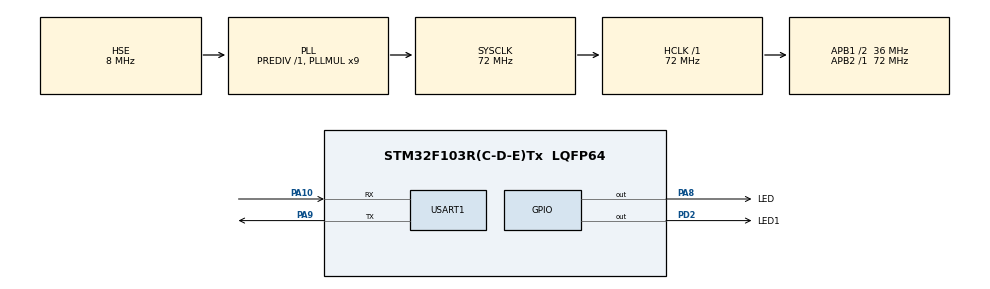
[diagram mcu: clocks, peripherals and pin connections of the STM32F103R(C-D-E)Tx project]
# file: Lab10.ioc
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FREERTOS.BinarySemaphores01=bSem01,Dynamic,NULL;bSemEmpty,Dynamic,NULL;bSemFilled,Dynamic,NULL
FREERTOS.CountingSemaphores01=bSemBuffer,4,Dynamic,NULL
FREERTOS.Queues01=myQueue01,4,uint16_t,0,Dynamic,NULL,NULL
FREERTOS.Tasks01=Producer,0,128,FuncProducer,Default,NULL,Dynamic,NULL,NULL;Consumer,0,128,FuncConsumer,Default,NULL,Dynamic,NULL,NULL
FREERTOS.configTOTAL_HEAP_SIZE=20000
FREERTOS.configUSE_COUNTING_SEMAPHORES=1
Mcu.Family=STM32F1
Mcu.Name=STM32F103R(C-D-E)Tx
Mcu.Package=LQFP64
NVIC.PriorityGroup=NVIC_PRIORITYGROUP_4
NVIC.USART1_IRQn=true\:1\:0\:true\:false\:true\:true\:true\:true
PA10.Mode=Asynchronous
PA10.Signal=USART1_RX
PA13.Mode=Serial_Wire
PA13.Signal=SYS_JTMS-SWDIO
PA14.Mode=Serial_Wire
PA14.Signal=SYS_JTCK-SWCLK
PA8.GPIO_Label=LED
PA8.Signal=GPIO_Output
PA9.Mode=Asynchronous
PA9.Signal=USART1_TX
PD0-OSC_IN.Mode=HSE-External-Oscillator
PD0-OSC_IN.Signal=RCC_OSC_IN
PD1-OSC_OUT.Mode=HSE-External-Oscillator
PD1-OSC_OUT.Signal=RCC_OSC_OUT
PD2.GPIO_Label=LED1
PD2.Signal=GPIO_Output
ProjectManager.HeapSize=0x200
ProjectManager.StackSize=0x400
ProjectManager.TargetToolchain=STM32CubeIDE
RCC.AHBFreq_Value=72000000
RCC.APB1CLKDivider=RCC_HCLK_DIV2
RCC.APB1Freq_Value=36000000
RCC.APB1TimFreq_Value=72000000
RCC.APB2Freq_Value=72000000
RCC.APB2TimFreq_Value=72000000
RCC.HCLKFreq_Value=72000000
RCC.PLLMUL=RCC_PLL_MUL9
RCC.PLLSourceVirtual=RCC_PLLSOURCE_HSE
RCC.SYSCLKFreq_VALUE=72000000
RCC.SYSCLKSource=RCC_SYSCLKSOURCE_PLLCLK
RCC.USBFreq_Value=72000000
USART1.VirtualMode=VM_ASYNC
VP_FREERTOS_VS_CMSIS_V1.Mode=CMSIS_V1
board=custom

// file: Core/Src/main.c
/* USER CODE BEGIN Header */
/**
 ******************************************************************************
 * @file           : main.c
 * @brief          : Main program body
 ******************************************************************************
 * @attention
 *
 * <h2><center>&copy; Copyright (c) 2021 STMicroelectronics.
 * All rights reserved.</center></h2>
 *
 * This software component is licensed by ST under BSD 3-Clause license,
 * the "License"; You may not use this file except in compliance with the
 * License. You may obtain a copy of the License at:
 *                        opensource.org/licenses/BSD-3-Clause
 *
 ******************************************************************************
 */
/* USER CODE END Header */
#include "main.h"
#include "cmsis_os.h"

UART_HandleTypeDef huart1;

osThreadId ProducerHandle;
osThreadId ConsumerHandle;
osMessageQId myQueue01Handle;
osSemaphoreId bSem01Handle;
osSemaphoreId bSemEmptyHandle;
osSemaphoreId bSemFilledHandle;
osSemaphoreId bSemBufferHandle;
/* USER CODE BEGIN PV */
typedef struct {
	uint16_t var;
} mailStruct;
osMailQId mail01Handle;
/* USER CODE END PV */

void SystemClock_Config(void);
static void MX_GPIO_Init(void);
static void MX_USART1_UART_Init(void);
void FuncProducer(void const *argument);
void FuncConsumer(void const *argument);

int main(void) {

	/* MCU Configuration--------------------------------------------------------*/

	/* Reset of all peripherals, Initializes the Flash interface and the Systick. */
	HAL_Init();

	/* Configure the system clock */
	SystemClock_Config();

	/* Initialize all configured peripherals */
	MX_GPIO_Init();
	MX_USART1_UART_Init();

	/* Create the semaphores(s) */
	/* definition and creation of bSem01 */
	osSemaphoreDef(bSem01);
	bSem01Handle = osSemaphoreCreate(osSemaphore(bSem01), 1);

	/* definition and creation of bSemEmpty */
	osSemaphoreDef(bSemEmpty);
	bSemEmptyHandle = osSemaphoreCreate(osSemaphore(bSemEmpty), 1);

	/* definition and creation of bSemFilled */
	osSemaphoreDef(bSemFilled);
	bSemFilledHandle = osSemaphoreCreate(osSemaphore(bSemFilled), 1);

	/* definition and creation of bSemBuffer */
	osSemaphoreDef(bSemBuffer);
	bSemBufferHandle = osSemaphoreCreate(osSemaphore(bSemBuffer), 4);

	/* Create the queue(s) */
	/* definition and creation of myQueue01 */
	osMessageQDef(myQueue01, 4, uint16_t);
	myQueue01Handle = osMessageCreate(osMessageQ(myQueue01), NULL);

	/* USER CODE BEGIN RTOS_QUEUES */
	/* add queues, ... */
	osMailQDef(mail01, 4, mailStruct);
	mail01Handle = osMailCreate(osMailQ(mail01), NULL);
	/* USER CODE END RTOS_QUEUES */

	/* Create the thread(s) */
	/* definition and creation of Producer */
	osThreadDef(Producer, FuncProducer, osPriorityNormal, 0, 128);
	ProducerHandle = osThreadCreate(osThread(Producer), NULL);

	/* definition and creation of Consumer */
	osThreadDef(Consumer, FuncConsumer, osPriorityNormal, 0, 128);
	ConsumerHandle = osThreadCreate(osThread(Consumer), NULL);

	/* Start scheduler */
	osKernelStart();

	/* We should never get here as control is now taken by the scheduler */
	/* Infinite loop */
	while (1) {

	}
}

void SystemClock_Config(void) {
	RCC_OscInitTypeDef RCC_OscInitStruct = { 0 };
	RCC_ClkInitTypeDef RCC_ClkInitStruct = { 0 };

	/** Initializes the RCC Oscillators according to the specified parameters
	 * in the RCC_OscInitTypeDef structure.
	 */
	RCC_OscInitStruct.OscillatorType = RCC_OSCILLATORTYPE_HSE;
	RCC_OscInitStruct.HSEState = RCC_HSE_ON;
	RCC_OscInitStruct.HSEPredivValue = RCC_HSE_PREDIV_DIV1;
	RCC_OscInitStruct.HSIState = RCC_HSI_ON;
	RCC_OscInitStruct.PLL.PLLState = RCC_PLL_ON;
	RCC_OscInitStruct.PLL.PLLSource = RCC_PLLSOURCE_HSE;
	RCC_OscInitStruct.PLL.PLLMUL = RCC_PLL_MUL9;
	if (HAL_RCC_OscConfig(&RCC_OscInitStruct) != HAL_OK) {
		Error_Handler();
	}
	/** Initializes the CPU, AHB and APB buses clocks
	 */
	RCC_ClkInitStruct.ClockType = RCC_CLOCKTYPE_HCLK | RCC_CLOCKTYPE_SYSCLK
			| RCC_CLOCKTYPE_PCLK1 | RCC_CLOCKTYPE_PCLK2;
	RCC_ClkInitStruct.SYSCLKSource = RCC_SYSCLKSOURCE_PLLCLK;
	RCC_ClkInitStruct.AHBCLKDivider = RCC_SYSCLK_DIV1;
	RCC_ClkInitStruct.APB1CLKDivider = RCC_HCLK_DIV2;
	RCC_ClkInitStruct.APB2CLKDivider = RCC_HCLK_DIV1;

	if (HAL_RCC_ClockConfig(&RCC_ClkInitStruct, FLASH_LATENCY_2) != HAL_OK) {
		Error_Handler();
	}
}

static void MX_USART1_UART_Init(void) {

	huart1.Instance = USART1;
	huart1.Init.BaudRate = 115200;
	huart1.Init.WordLength = UART_WORDLENGTH_8B;
	huart1.Init.StopBits = UART_STOPBITS_1;
	huart1.Init.Parity = UART_PARITY_NONE;
	huart1.Init.Mode = UART_MODE_TX_RX;
	huart1.Init.HwFlowCtl = UART_HWCONTROL_NONE;
	huart1.Init.OverSampling = UART_OVERSAMPLING_16;
	if (HAL_UART_Init(&huart1) != HAL_OK) {
		Error_Handler();
	}

}

static void MX_GPIO_Init(void) {
	GPIO_InitTypeDef GPIO_InitStruct = { 0 };

	/* GPIO Ports Clock Enable */
	__HAL_RCC_GPIOD_CLK_ENABLE();
	__HAL_RCC_GPIOA_CLK_ENABLE();

	/*Configure GPIO pin Output Level */
	HAL_GPIO_WritePin(LED_GPIO_Port, LED_Pin, GPIO_PIN_RESET);

	/*Configure GPIO pin Output Level */
	HAL_GPIO_WritePin(LED1_GPIO_Port, LED1_Pin, GPIO_PIN_RESET);

	/*Configure GPIO pin : LED_Pin */
	GPIO_InitStruct.Pin = LED_Pin;
	GPIO_InitStruct.Mode = GPIO_MODE_OUTPUT_PP;
	GPIO_InitStruct.Pull = GPIO_NOPULL;
	GPIO_InitStruct.Speed = GPIO_SPEED_FREQ_LOW;
	HAL_GPIO_Init(LED_GPIO_Port, &GPIO_InitStruct);

	/*Configure GPIO pin : LED1_Pin */
	GPIO_InitStruct.Pin = LED1_Pin;
	GPIO_InitStruct.Mode = GPIO_MODE_OUTPUT_PP;
	GPIO_InitStruct.Pull = GPIO_NOPULL;
	GPIO_InitStruct.Speed = GPIO_SPEED_FREQ_LOW;
	HAL_GPIO_Init(LED1_GPIO_Port, &GPIO_InitStruct);

}

void FuncProducer(void const *argument) {
	/* USER CODE BEGIN 5 */
	mailStruct *mail; /* Infinite loop */
	int i = 0;
	char msg[20];
	for (;;) {
		i = i % 4 + 1;
		mail = (mailStruct*) osMailAlloc(mail01Handle,
		osWaitForever);
		mail->var = i;
		osMailPut(mail01Handle, mail);
		sprintf(msg, "PUT Mail value: %d\r\n", mail->var);
		HAL_UART_Transmit(&huart1, (uint8_t*) msg, strlen(msg), HAL_MAX_DELAY);
		osDelay(1000);
//		mail = (mailStruct*) osMailAlloc(mail01Handle,
//		osWaitForever);
//		mail->var = i;
//		osMailPut(mail01Handle, mail);
	}
	/* USER CODE END 5 */
}

void FuncConsumer(void const *argument) {
	/* USER CODE BEGIN FuncConsumer */
	osEvent event;
	mailStruct *pMail;
	char msg[20]; /* Infinite loop */
	osDelay(10000);
	for (;;) {
		event = osMailGet(mail01Handle, osWaitForever);
		if (event.status == osEventMail) {
			pMail = event.value.p;
			sprintf(msg, "Receive Mail value: %d\r\n", pMail->var);
			HAL_UART_Transmit(&huart1, (uint8_t*) msg, strlen(msg),
					HAL_MAX_DELAY);
			osMailFree(mail01Handle, pMail);
		}
	}
	/* USER CODE END FuncConsumer */
}

void Error_Handler(void) {
	__disable_irq();
	while (1) {
	}
}

/************************ (C) COPYRIGHT STMicroelectronics *****END OF FILE****/
